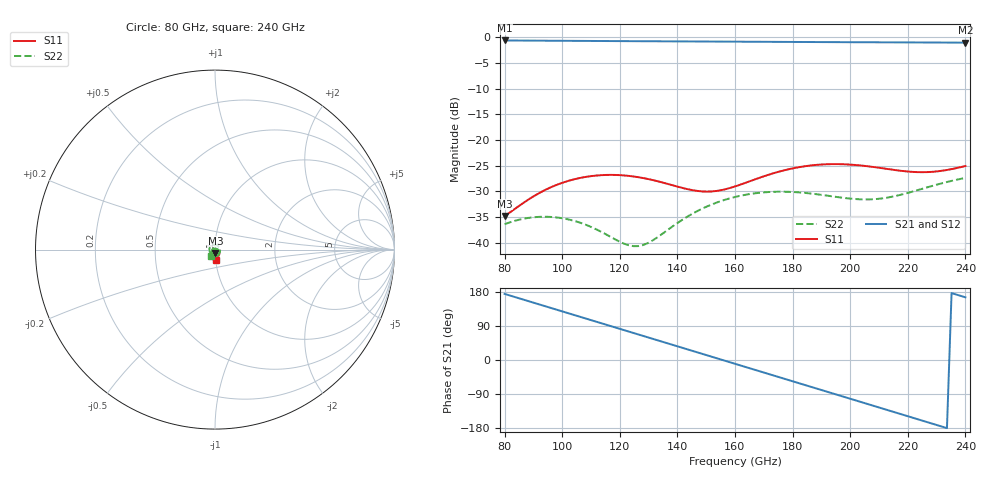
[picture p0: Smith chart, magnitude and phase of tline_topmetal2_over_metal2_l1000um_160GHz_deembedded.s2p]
! Created with skrf 2.0.1 (http://scikit-rf.org).
# GHz S DB R 50.0
!freq dBS11 angS11 dBS21 angS21 dBS12 angS12 dBS22 angS22
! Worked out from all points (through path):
!   101 points, 80 GHz to 240 GHz, reference 50 ohm
!   highest |S21| = -0.65 dB at 80 GHz (marker M1); lowest = -1.1 dB at 240 GHz (marker M2)
!   group delay of S21, straight-line fit = 6.41 ps
!   lowest |S11| = -34.8 dB at 80 GHz (marker M3), VSWR 1.04, Z = 50.2 - j1.82 ohm
!   |S11| at or under -10 dB: start of sweep to end of sweep
!   |S22| runs from -40.6 to -27.4 dB; largest |S21 - S12| = 1.1e-14
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80  -34.76 -82.8  -0.65 174.4  -0.65 174.4  -36.37 -95.8
86.4  -32.27 -74.2  -0.67 159.7  -0.67 159.7  -35.32 -110.4
92.8  -30.08 -75.0  -0.69 144.9  -0.69 144.9  -34.92 -128.2
100.8  -28.18 -81.6  -0.72 126.5  -0.72 126.5  -35.28 -154.0
107.2  -27.27 -88.5  -0.74 111.7  -0.74 111.7  -36.27 -178.1
115.2  -26.79 -97.5  -0.76 93.3  -0.76 93.3  -38.34 144.5
124.8  -27.09 -106.7  -0.79 71.2  -0.79 71.2  -40.64 78.2
129.6  -27.56 -109.9  -0.80 60.1  -0.80 60.1  -40.08 38.9
134.4  -28.20 -111.4  -0.82 49.0  -0.82 49.0  -38.38 4.7
147.2  -29.92 -103.5  -0.85 19.5  -0.85 19.5  -33.74 -60.3
153.6  -29.90 -94.1  -0.87 4.8  -0.87 4.8  -32.17 -86.4
160  -29.03 -86.3  -0.88 -10.0  -0.88 -10.0  -31.08 -111.2
172.8  -26.56 -83.0  -0.92 -39.5  -0.92 -39.5  -30.08 -160.2
180.8  -25.43 -86.7  -0.94 -58.0  -0.94 -58.0  -30.13 167.8
187.2  -24.90 -90.8  -0.96 -72.7  -0.96 -72.7  -30.46 140.4
193.6  -24.69 -95.2  -0.97 -87.5  -0.97 -87.5  -30.94 110.7
200  -24.78 -98.8  -0.99 -102.2  -0.99 -102.2  -31.39 78.2
206.4  -25.13 -101.1  -1.00 -117.0  -1.00 -117.0  -31.55 43.1
214.4  -25.75 -100.9  -1.02 -135.4  -1.02 -135.4  -31.04 -1.7
227.2  -26.23 -92.7  -1.05 -165.0  -1.05 -165.0  -29.13 -67.2
233.6  -25.82 -87.4  -1.06 -179.8  -1.06 -179.8  -28.16 -96.2
240  -25.06 -84.0  -1.07 165.4  -1.07 165.4  -27.38 -123.6
